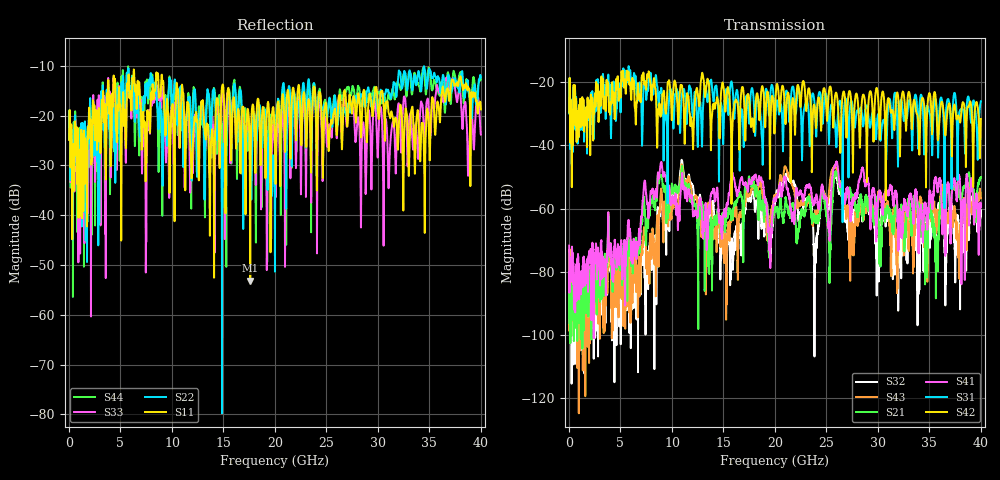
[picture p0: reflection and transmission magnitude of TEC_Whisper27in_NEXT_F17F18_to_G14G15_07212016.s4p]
! TE Connectivity
! F17F18-G14G15_NEXT
!! PART DESCRIPTION: Whisper 27in Megtron 6 HVLP-HVLP-HVLP Channel Model, bulkhead 2.92mm test points
!! MODEL DESCRIPTION: System 4-port S-parameter
!! MODEL STATUS: Measured
!! MODEL GEOMETRY: Channel Model
!! MODEL FREQUENCY RANGE: DC to 40 GHz in 10 MHz frequency steps
!! MODEL EDGE RATE LIMITATION: 12.5 ps (Using conservative 0.5/Fmax rule of thumb)
!! TIME-DOMAIN TRANSFORM CAUTIONS:
!! 1.) Do not simulate transient edge rates faster than the number listed above.  Edge
!!  rates faster than this number contain significant spectral content at frequencies
!!  above the model's highest frequency.
!! 2.) Even when simulating edge rates that are slower than the number listed above, be
!!  aware that the best time resolution possible with a direct iFFT is (1 / 2Fmax).
!!  As a result, time resolution is typically not adequate for most time-domain
!!  simulations unless tricks such as frequency-domain zero-padding and windowing are
!!  used to minimize leakage and aliasing.
!! 3.) Because the model has a uniform frequency step, a direct iFFT will result in an
!!  impulse that that has a time length given by either (1 / Fstep) or (1 / 2Fstep),
!!  depending on the transform being used.  Care has been taken in selecting the
!!  frequency step to ensure a settled impulse response for the model.  Therefore,
!!  convolution with the model's impulse response should present no issues.  However,
!!  if directly concatenating s-parameter models in the frequency domain a user must
!!  either interpolate necessary interim frequencies or complete impulse response
!!  zero-padding.  Impulse response zero-padding is more difficult, but more accurate.
!! PORT DEFINITIONS:
!! Port  1  ----->  Side A  F17  G14  Side B  <-----  Port  2
!! Port  3  ----->  Side A  F18  G15  Side B  <-----  Port  4
! Point-to-Point link (differential)  !
! Connectors:  !
!  1: STRADA Whisper 3.9mm  !
! Materials:  !
!  Backplane: Megtron-6 HVLP  !
!  Daughtercard: Megtron-6 HVLP  !
! Stack-up:  !
!  Backplane: 20 layers, 190mil thick  !
!  Daughtercard: 14 layers, 110mil thick  !
! Trace Length:  !
!  Backplane: 17in  !
!  Daughtercards: 5in  !
! Trace Width:  !
!  Backplane: 5.75-6.25-5.75 mils  !
!  Daughtercards: 6-9-6 mils  !
! Geometry:  !
!  Backplane: Stripline  !
!  Daughtercards: Stripline  !
! Layer Connections:  !
!  Backplane: Layer 16, counterbored(1-6mil stub)  !
!  Daughtercard: Layer 9, counterbored(1-6mil stub) !
! Freq. Range: 0 GHz - 40 GHz  !
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# hz S ma R 50
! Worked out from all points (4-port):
!   4000 points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, 10 MHz to 40 GHz, reference 50 ohm
!   strongest paths, dB at 10 MHz, 10.01 GHz, 20.01 GHz, 30.01 GHz, 40 GHz:
!     S42: -29.6, -30.9, -29.3, -24.5, -31.6
!     S31: -29.9, -26.8, -33.8, -30.1, -26.1
!     S41: -71.7, -56.9, -57.3, -58.4, -59.3
!     S21: -76.8, -52.5, -59.5, -62.7, -50.1
!     S43: -73.5, -58.9, -55.9, -56.1, -56.8
!     S32: -80.3, -54.9, -57.4, -73.6, -61.9
!   lowest |S11| = -53.2 dB at 17.6 GHz (marker M1), VSWR 1.00, Z = 50.1 + j0.196 ohm
!   |S11| at or under -10 dB: start of sweep to end of sweep
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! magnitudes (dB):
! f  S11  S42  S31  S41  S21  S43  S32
! 10 MHz  -24.9  -29.6  -29.9  -71.7  -76.8  -73.5  -80.3
! 7.51 GHz  -29.5  -22.0  -25.5  -56.1  -68.7  -77.4  -76.4
! 10.96 GHz  -13.9  -21.0  -24.2  -49.7  -46.7  -46.1  -44.7
! 15.14 GHz  -24.1  -27.8  -24.2  -61.1  -65.6  -68.2  -69.7
! 17.6 GHz  -53.2  -30.6  -26.0  -51.8  -51.4  -55.7  -57.0
! 35.7 GHz  -19.1  -30.1  -27.7  -51.8  -71.4  -64.2  -63.9
! 40 GHz  -18.7  -31.6  -26.1  -59.3  -50.1  -56.8  -61.9
